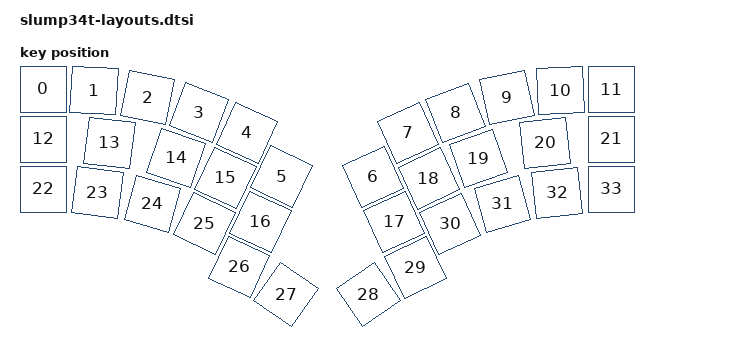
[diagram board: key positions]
#include <physical_layouts.dtsi>

/ {
    physical_layout0: physical_layout_0 {
        compatible = "zmk,physical-layout";
        display-name = "LAYOUT";

        kscan = <&kscan0>;
        transform = <&matrix_transform0>;

        keys  //                     w   h    x    y     rot    rx    ry
            = <&key_physical_attrs 100 100    0    0       0     0     0>
            , <&key_physical_attrs 100 100  102    3     300   152    53>
            , <&key_physical_attrs 100 100  209   17    1200   259    67>
            , <&key_physical_attrs 100 100  312   47    2100   362    97>
            , <&key_physical_attrs 100 100  408   88    2500   458   138>
            , <&key_physical_attrs 100 100  477  175    2500   527   225>
            , <&key_physical_attrs 100 100  660  176 (-2500)   710   226>
            , <&key_physical_attrs 100 100  730   88 (-2500)   780   138>
            , <&key_physical_attrs 100 100  825   48 (-2100)   875    98>
            , <&key_physical_attrs 100 100  928   17 (-1200)   978    67>
            , <&key_physical_attrs 100 100 1035    3  (-300)  1085    53>
            , <&key_physical_attrs 100 100 1137    1       0     0     0>
            , <&key_physical_attrs 100 100    0  100       0     0     0>
            , <&key_physical_attrs 100 100  133  108     700   183   158>
            , <&key_physical_attrs 100 100  266  138    1900   316   188>
            , <&key_physical_attrs 100 100  365  178    2500   415   228>
            , <&key_physical_attrs 100 100  435  266    2500   485   316>
            , <&key_physical_attrs 100 100  702  266 (-2500)   752   316>
            , <&key_physical_attrs 100 100  772  179 (-2500)   822   229>
            , <&key_physical_attrs 100 100  871  139 (-1900)   921   189>
            , <&key_physical_attrs 100 100 1004  108  (-700)  1054   158>
            , <&key_physical_attrs 100 100 1137  100       0     0     0>
            , <&key_physical_attrs 100 100    0  200       0     0     0>
            , <&key_physical_attrs 100 100  109  207     700   159   257>
            , <&key_physical_attrs 100 100  219  230    1600   269   280>
            , <&key_physical_attrs 100 100  323  269    2500   373   319>
            , <&key_physical_attrs 100 100  392  356    2500   442   407>
            , <&key_physical_attrs 100 100  486  411    3500   536   461>
            , <&key_physical_attrs 100 100  651  411 (-3500)   701   461>
            , <&key_physical_attrs 100 100  745  357 (-2500)   795   407>
            , <&key_physical_attrs 100 100  814  270 (-2500)   864   320>
            , <&key_physical_attrs 100 100  919  230 (-1600)   969   280>
            , <&key_physical_attrs 100 100 1028  208  (-700)  1078   258>
            , <&key_physical_attrs 100 100 1137  200       0     0     0>
            ;
    };
};
